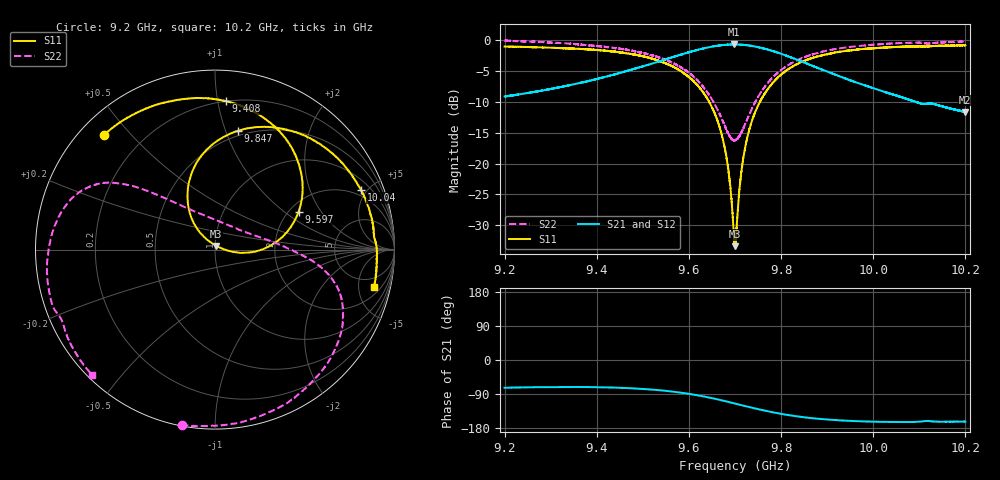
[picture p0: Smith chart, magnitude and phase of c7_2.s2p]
!Agilent Technologies,N5242A,MY51221714,A.09.90.19
!Agilent N5242A: A.09.90.19
!Date: Tuesday, March 26, 2024 15:59:27
!Correction: S11(Full 2 Port(1,2))
!S21(Full 2 Port(1,2))
!S12(Full 2 Port(1,2))
!S22(Full 2 Port(1,2))
!S2P File: Measurements: S11, S21, S12, S22:
# Hz S  dB  R 50
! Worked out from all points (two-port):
!   16001 points, 9.2 GHz to 10.2 GHz, reference 50 ohm
!   highest |S21| = -0.67 dB at 9.697 GHz (marker M1); lowest = -11.6 dB at 10.2 GHz (marker M2)
!   |S21| within 3 dB of the highest: 9.525097 GHz to 9.525334 GHz (236.8 kHz wide, 0.00249 % of centre); 9.526 GHz to 9.852 GHz (326.5 MHz wide, 3.37 % of centre)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
!   lowest |S11| = -33.4 dB at 9.701 GHz (marker M3), VSWR 1.04, Z = 50.7 + j2.05 ohm
!   |S11| at or under -10 dB: 9.64387 GHz to 9.64388 GHz (9.744 kHz wide, 0.000101 % of centre); 9.644 GHz to 9.754 GHz (110.1 MHz wide, 1.13 % of centre)
!   |S22| runs from -16.3 to 0.0 dB; largest |S21 - S12| = 0.011
!   S11 on the Smith chart (normalised r, x): 9.2 GHz: 0.07, +0.42; 9.408 GHz: 0.20, +1.05; 9.597 GHz: 2.24, +1.29; 9.847 GHz: 0.46, +1.10; 10.04 GHz: 1.58, +4.57; 10.2 GHz: 3.08, -7.48
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9.2e9  -1.02 134.1  -9.12 -73.4  -9.11 -74.0  -0.05 -100.8
9.277188e9  -1.16 117.3  -8.20 -71.7  -8.20 -72.3  -0.26 -79.7
9.366688e9  -1.42 96.4  -6.89 -71.4  -6.87 -71.9  -0.73 -56.4
9.40825e9  -1.62 85.9  -6.13 -71.9  -6.13 -72.5  -1.00 -46.0
9.533375e9  -3.31 48.5  -3.48 -79.4  -3.47 -80.0  -2.73 -18.5
9.597438e9  -5.81 24.5  -2.01 -88.9  -2.00 -89.4  -5.12 -7.0
9.637938e9  -9.22 7.2  -1.22 -97.7  -1.21 -98.2  -8.23 2.2
9.666438e9  -14.10 -4.3  -0.84 -105.0  -0.84 -105.6  -11.91 16.3
9.684375e9  -20.38 -7.0  -0.71 -110.3  -0.70 -110.8  -15.00 37.5
9.697438e9  -31.17 27.8  -0.67 -114.2  -0.66 -114.7  -16.22 64.1
9.7e9  -33.21 60.0  -0.68 -114.9  -0.67 -115.5  -16.21 69.9
9.700562e9  -33.41 71.2  -0.68 -115.1  -0.67 -115.6  -16.19 71.1
9.718875e9  -18.75 131.3  -0.75 -120.6  -0.74 -121.2  -14.17 106.1
9.742562e9  -11.89 124.0  -1.01 -127.5  -1.00 -128.1  -10.23 127.2
9.785812e9  -6.59 104.7  -1.84 -138.9  -1.84 -139.5  -5.74 139.8
9.84725e9  -3.43 79.2  -3.51 -150.7  -3.52 -151.2  -2.83 148.9
9.866688e9  -2.91 72.1  -4.11 -153.4  -4.11 -153.9  -2.32 152.0
9.934375e9  -1.79 50.0  -6.06 -159.8  -6.06 -160.3  -1.22 163.8
1.003338e10  -1.16 23.6  -8.60 -163.4  -8.59 -164.0  -0.55 -175.3
1.003875e10  -1.13 22.2  -8.71 -163.5  -8.72 -164.0  -0.53 -174.1
1.019981e10  -0.81 -12.9  -11.64 -162.4  -11.63 -163.0  -0.20 -134.4
1.02e10  -0.81 -13.1  -11.63 -162.4  -11.63 -162.9  -0.20 -134.3
